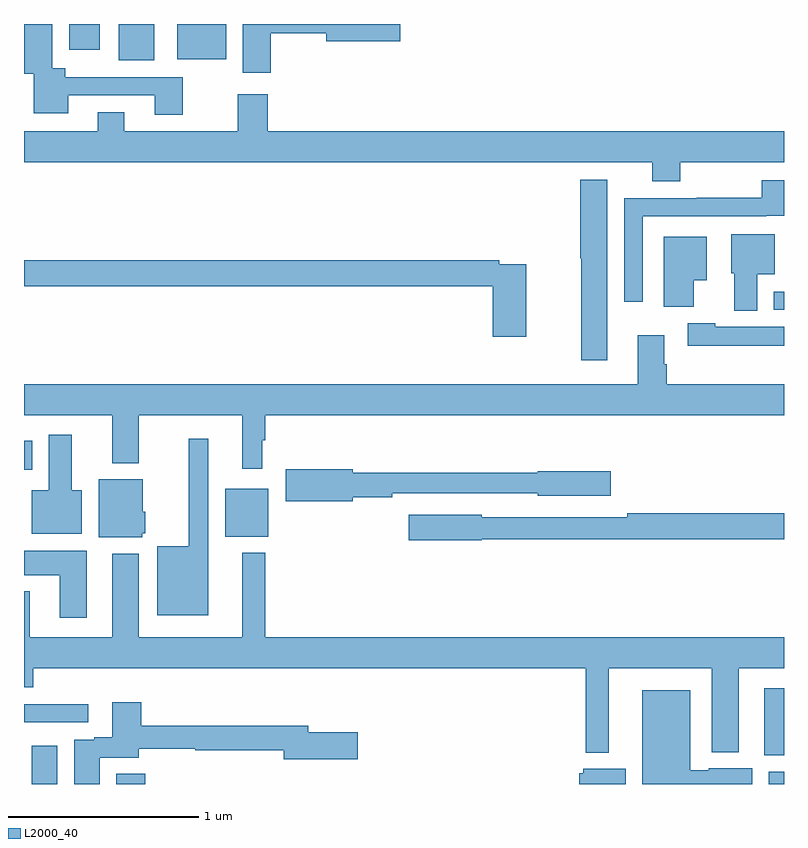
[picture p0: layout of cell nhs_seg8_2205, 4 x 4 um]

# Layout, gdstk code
import gdstk
lib = gdstk.Library(unit=1e-6, precision=1e-09)
def R(c, l, rs):  # rectangles x0, y0, x1, y1
    for r in rs: c.add(gdstk.rectangle(r[:2], r[2:], *l))
def P(c, l, *ps):  # polygons
    for p in ps: c.add(gdstk.Polygon(p, *l))
L2000_40 = (2000, 40)

nhs_seg8_2205 = lib.new_cell('nhs_seg8_2205')
R(nhs_seg8_2205, L2000_40, [(251.042,1107.9,251.176,1108.102), (251.486,1107.9,251.639,1107.953), (254.921,1107.9,255,1107.964), (254.897,1108.052,255,1108.405), (251,1108.224,251.338,1108.32), (252.059,1109.201,252.286,1109.455), (251,1109.555,251.044,1109.707), (254.945,1110.396,255,1110.492), (251.498,1111.709,251.686,1111.9), (251.807,1111.715,252.064,1111.9), (251.237,1111.764,251.398,1111.9)])
P(nhs_seg8_2205, L2000_40, [(252.299,1111.852),(252.59,1111.852),(252.59,1111.81),(252.979,1111.81),(252.979,1111.9),(252.152,1111.9),(252.152,1111.644),(252.299,1111.644)],
  [(251.835,1111.62),(251.218,1111.62),(251.218,1111.666),(251.149,1111.666),(251.149,1111.877),(251.148,1111.877),(251.148,1111.9),(251,1111.9),(251,1111.637),(251.051,1111.637),(251.051,1111.43),(251.233,1111.43),(251.233,1111.524),(251.687,1111.524),(251.687,1111.422),(251.835,1111.422)],
  [(254.454,1111.172),(255,1111.172),(255,1111.336),(252.284,1111.336),(252.284,1111.531),(252.124,1111.531),(252.124,1111.336),(251.527,1111.336),(251.527,1111.435),(251.387,1111.435),(251.387,1111.336),(251,1111.336),(251,1111.172),(254.306,1111.172),(254.306,1111.073),(254.454,1111.073)],
  [(254.071,1111.081),(253.928,1111.081),(253.928,1110.668),(253.933,1110.668),(253.933,1110.129),(254.071,1110.129)],
  [(254.256,1110.888),(254.906,1110.888),(254.906,1110.891),(255,1110.891),(255,1111.078),(254.884,1111.078),(254.884,1110.986),(254.542,1110.986),(254.542,1110.984),(254.16,1110.984),(254.16,1110.438),(254.256,1110.438)],
  [(254.86,1110.584),(254.95,1110.584),(254.95,1110.793),(254.723,1110.793),(254.723,1110.588),(254.738,1110.588),(254.738,1110.392),(254.86,1110.392)],
  [(254.524,1110.551),(254.593,1110.551),(254.593,1110.781),(254.366,1110.781),(254.366,1110.411),(254.524,1110.411)],
  [(253.644,1110.636),(253.502,1110.636),(253.502,1110.656),(251,1110.656),(251,1110.52),(253.466,1110.52),(253.466,1110.255),(253.644,1110.255)],
  [(255,1110.307),(254.637,1110.307),(254.637,1110.325),(254.493,1110.325),(254.493,1110.206),(255,1110.206)],
  [(252.253,1109.708),(252.271,1109.708),(252.271,1109.84),(255,1109.84),(255,1110.004),(254.384,1110.004),(254.384,1110.11),(254.371,1110.11),(254.371,1110.262),(254.231,1110.262),(254.231,1110.004),(251,1110.004),(251,1109.84),(251.465,1109.84),(251.465,1109.588),(251.605,1109.588),(251.605,1109.84),(252.149,1109.84),(252.149,1109.559),(252.253,1109.559)],
  [(251.305,1109.446),(251.251,1109.446),(251.251,1109.737),(251.129,1109.737),(251.129,1109.446),(251.042,1109.446),(251.042,1109.216),(251.305,1109.216)],
  [(251.971,1109.716),(251.867,1109.716),(251.867,1109.152),(251.702,1109.152),(251.702,1108.787),(251.971,1108.787)],
  [(252.73,1109.41),(252.938,1109.41),(252.938,1109.43),(253.704,1109.43),(253.704,1109.417),(254.089,1109.417),(254.089,1109.547),(253.704,1109.547),(253.704,1109.539),(252.73,1109.539),(252.73,1109.557),(252.378,1109.557),(252.378,1109.387),(252.73,1109.387)],
  [(251.622,1109.22),(251.638,1109.22),(251.638,1109.334),(251.626,1109.334),(251.626,1109.503),(251.393,1109.503),(251.393,1109.198),(251.622,1109.198)],
  [(253.41,1109.188),(255,1109.188),(255,1109.324),(254.176,1109.324),(254.176,1109.304),(253.41,1109.304),(253.41,1109.317),(253.026,1109.317),(253.026,1109.183),(253.41,1109.183)],
  [(251.329,1109.128),(251,1109.128),(251,1109),(251.189,1109),(251.189,1108.776),(251.329,1108.776)],
  [(254.077,1108.508),(254.621,1108.508),(254.621,1108.067),(254.761,1108.067),(254.761,1108.508),(255,1108.508),(255,1108.672),(252.271,1108.672),(252.271,1109.116),(252.149,1109.116),(252.149,1108.672),(251.605,1108.672),(251.605,1109.113),(251.465,1109.113),(251.465,1108.672),(251.029,1108.672),(251.029,1108.915),(251,1108.915),(251,1108.409),(251.048,1108.409),(251.048,1108.508),(253.956,1108.508),(253.956,1108.064),(254.077,1108.064)],
  [(254.833,1107.982),(254.604,1107.982),(254.604,1107.972),(254.506,1107.972),(254.506,1108.393),(254.255,1108.393),(254.255,1107.9),(254.833,1107.9)],
  [(251.398,1108.038),(251.605,1108.038),(251.605,1108.086),(251.901,1108.086),(251.901,1108.078),(252.368,1108.078),(252.368,1108.031),(252.757,1108.031),(252.757,1108.173),(252.496,1108.173),(252.496,1108.207),(251.618,1108.207),(251.618,1108.33),(251.465,1108.33),(251.465,1108.147),(251.369,1108.147),(251.369,1108.134),(251.264,1108.134),(251.264,1107.9),(251.398,1107.9)],
  [(254.167,1107.979),(253.944,1107.979),(253.944,1107.957),(253.922,1107.957),(253.922,1107.9),(254.167,1107.9)])

lib.write_gds('nhs_seg8_2205.gds')
